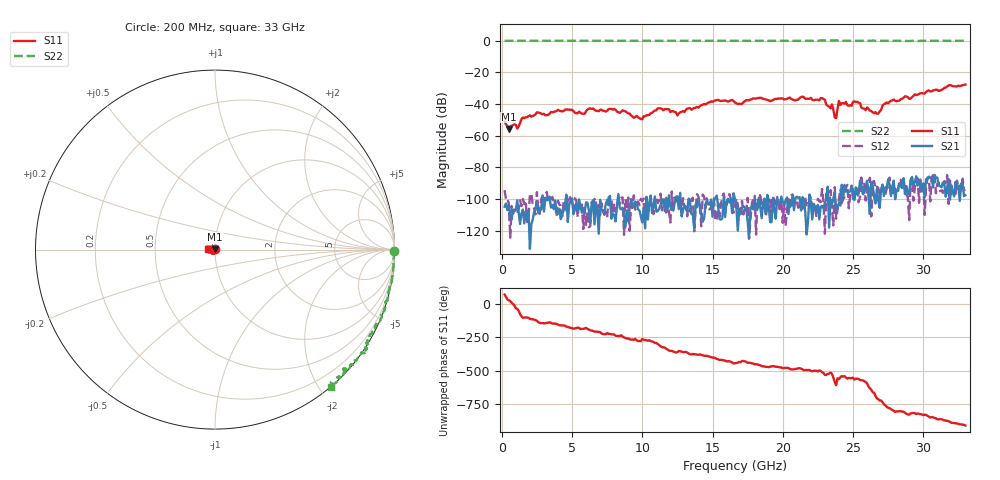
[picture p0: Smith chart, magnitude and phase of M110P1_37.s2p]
# GHZ S RI R 50
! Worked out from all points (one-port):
!   329 points, 200 MHz to 33 GHz, reference 50 ohm
!   lowest |S11| = -55.8 dB at 500 MHz (marker M1), VSWR 1.00, Z = 50.1 + j0.0713 ohm
!   |S11| at or under -10 dB: start of sweep to end of sweep
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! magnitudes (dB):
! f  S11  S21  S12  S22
! 200 MHz  -51.1  -105.0  -94.4  0.0
! 500 MHz  -55.8  -104.1  -103.0  0.0
! 900 MHz  -52.8  -107.5  -106.7  0.0
! 1.1 GHz  -55.5  -100.9  -108.9  0.0
! 1.5 GHz  -48.6  -106.7  -100.1  0.0
! 2.5 GHz  -45.3  -102.1  -95.7  0.0
! 5.7 GHz  -46.1  -108.8  -103.6  0.0
! 8 GHz  -43.1  -110.2  -103.0  0.0
! 10 GHz  -49.6  -114.9  -101.4  0.0
! 11.2 GHz  -42.7  -106.3  -101.1  0.0
! 12.5 GHz  -47.3  -98.3  -101.7  -0.1
! 15.2 GHz  -37.7  -99.4  -113.9  0.0
! 16.6 GHz  -39.1  -100.2  -105.0  -0.1
! 22.1 GHz  -37.4  -113.0  -105.8  -0.1
! 23.5 GHz  -40.3  -103.6  -106.0  0.1
! 23.8 GHz  -48.9  -107.5  -112.5  0.1
! 24 GHz  -38.1  -102.6  -99.9  0.0
! 24.7 GHz  -41.2  -95.7  -106.0  0.0
! 25.3 GHz  -38.6  -97.1  -93.5  0.0
! 26.7 GHz  -46.2  -93.6  -92.3  0.0
! 27.6 GHz  -38.7  -90.7  -86.6  -0.1
! 33 GHz  -27.8  -97.6  -94.2  0.0
